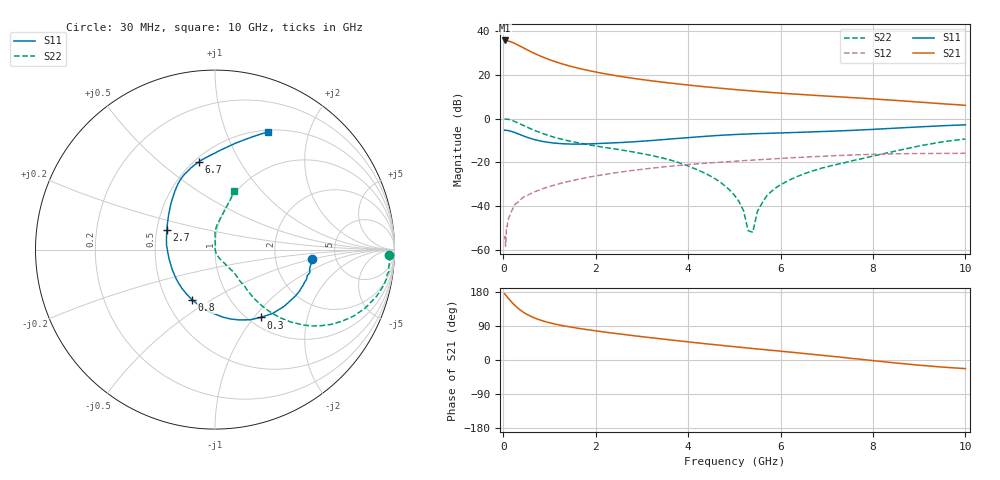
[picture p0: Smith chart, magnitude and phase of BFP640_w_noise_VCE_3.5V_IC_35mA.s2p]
! (c) 2013  Infineon Technologies AG, Munich
! Infineon Technologies  Discrete & RF Semiconductors
! BFP640
! VCE =  3.5 V,  IC =  35 mA
! Common Emitter S-Parameters:  Apr 2013
# GHz  S  MA  R  50
!  f  S11  S21  S12  S22
! GHz  MAG  ANG  MAG  ANG  MAG  ANG  MAG  ANG
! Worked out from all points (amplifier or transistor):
!   99 points, 30 MHz to 10 GHz, reference 50 ohm
!   highest |S21| = 35.8 dB at 30 MHz (marker M1)
!   |S21| within 3 dB of that: start of sweep to 401.9 MHz
!   unconditionally stable (mu >= 1): 2.083 GHz to end of sweep
!   at 350 MHz: K = 0.41, MSG = 35.5 dB, |S12| = -37.7 dB
!   at 3.5 GHz: K = 1.05, MAG = 17.9 dB, |S12| = -22.1 dB
!   at 10 GHz: K = 1.06, MAG = 9.5 dB, |S12| = -15.9 dB
!   lowest NFmin = 1.16 dB at 450 MHz
!   S11 on the Smith chart (normalised r, x): 30 MHz: 3.30, -0.47; 300 MHz: 1.13, -1.08; 800 MHz: 0.67, -0.41; 2.7 GHz: 0.57, +0.13; 6.7 GHz: 0.53, +0.69; 10 GHz: 0.52, +1.42
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0.03  0.5425 -5.3  61.47 174.6  0.0017 79.1  0.9726 -1.8
0.08  0.5339 -15.8  60.48 167.3  0.0033 58.8  0.969 -8.2
0.15  0.5179 -29.8  57.82 157.3  0.0066 79.5  0.9356 -16.3
0.2  0.4986 -39.2  55.34 150.5  0.0083 72.1  0.8979 -21.3
0.25  0.4796 -47.8  52.48 144.3  0.0107 74.7  0.8559 -25.7
0.3  0.456 -56.0  49.45 138.7  0.0118 70.4  0.8103 -29.6
0.4  0.4151 -70.8  43.63 129.0  0.0148 68.2  0.7252 -35.8
0.5  0.378 -83.6  38.4 121.3  0.017 66.4  0.6488 -40.4
0.6  0.3487 -95.1  33.92 115.0  0.0193 64.3  0.5816 -43.8
0.7  0.3256 -105.1  30.19 109.8  0.0215 64.3  0.5268 -46.2
0.8  0.3073 -114.6  27.1 105.4  0.0236 63.6  0.4789 -48.0
1.1  0.2755 -137.7  20.5 95.4  0.0299 62.4  0.3748 -50.8
1.4  0.2628 -155.5  16.38 88.2  0.036 60.9  0.3122 -51.5
1.7  0.2612 -169.8  13.63 82.2  0.0423 59.0  0.2688 -51.1
2.1  0.2704 175.6  11.12 75.3  0.0507 56.7  0.2266 -51.6
2.7  0.2896 157.9  8.7 66.0  0.0631 52.5  0.1806 -50.4
3.4  0.3266 141.9  6.924 56.0  0.077 46.9  0.1285 -52.7
5.1  0.4357 116.0  4.54 33.9  0.1071 32.1  0.0127 -73.5
5.4  0.4493 113.0  4.273 30.3  0.1121 29.6  0.0025 58.5
6.7  0.4971 100.4  3.428 14.8  0.1342 18.0  0.0636 89.3
8.5  0.6051 78.9  2.602 -7.9  0.1561 -0.2  0.182 79.6
10  0.7202 65.7  2.018 -22.8  0.1607 -12.2  0.3422 72.1
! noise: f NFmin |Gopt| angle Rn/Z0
0.45  1.16  0.22  -170  0.04
0.9  1.17  0.23  -159  0.07
1.5  1.18  0.26  -144  0.08
1.9  1.18  0.27  224  0.1
2.4  1.23  0.29  -122  0.11
3.5  1.36  0.34  -105  0.15
5.5  1.57  0.38  -91  0.23
10  2.02  0.62  -50  0.64
